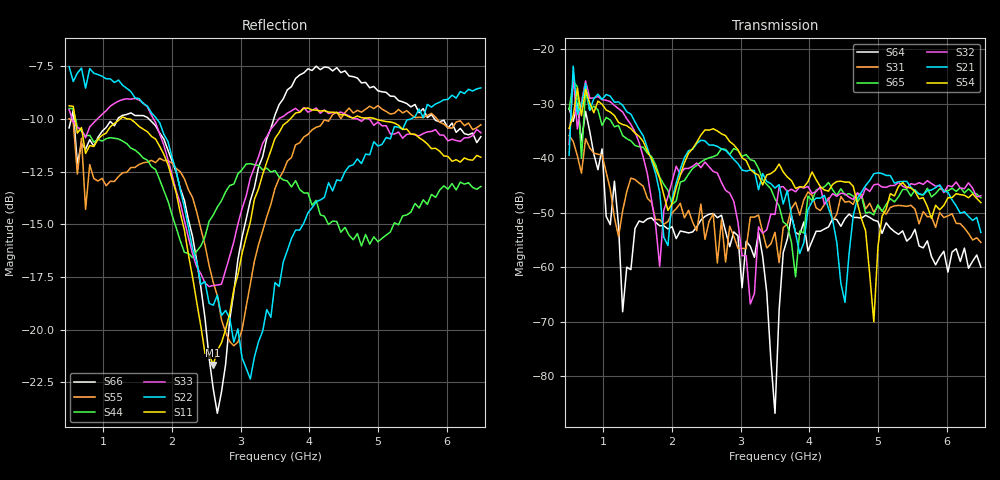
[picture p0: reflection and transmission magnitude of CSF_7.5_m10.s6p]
!Keysight Technologies,M9804A,MY58100912,A.14.10.03
!Date: Thursday, April 27, 2023 10:28:33
!Correction: S11(C  6-Port  )
!S12(C  6-Port  )
!S13(C  6-Port  )
!S14(C  6-Port  )
!S15(C  6-Port  )
!S16(C  6-Port  )
!S21(C  6-Port  )
!S22(C  6-Port  )
!S23(C  6-Port  )
!S24(C  6-Port  )
!S25(C  6-Port  )
!S26(C  6-Port  )
!S31(C  6-Port  )
!S32(C  6-Port  )
!S33(C  6-Port  )
!S34(C  6-Port  )
!S35(C  6-Port  )
!S36(C  6-Port  )
!S41(C  6-Port  )
!S42(C  6-Port  )
!S43(C  6-Port  )
!S44(C  6-Port  )
!S45(C  6-Port  )
!S46(C  6-Port  )
!S51(C  6-Port  )
!S52(C  6-Port  )
!S53(C  6-Port  )
!S54(C  6-Port  )
!S55(C  6-Port  )
!S56(C  6-Port  )
!S61(C  6-Port  )
!S62(C  6-Port  )
!S63(C  6-Port  )
!S64(C  6-Port  )
!S65(C  6-Port  )
!S66(C  6-Port  )
!S6P File: Measurement: :
# Hz S  RI  R 50
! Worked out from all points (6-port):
!   101 points, 500 MHz to 6.5 GHz, reference 50 ohm
!   strongest paths, dB at 500 MHz, 2 GHz, 3.5 GHz, 5 GHz, 6.5 GHz:
!     S54: -34.5, -48.3, -42.3, -56.2, -48.2
!     S21: -39.5, -47.5, -45.5, -42.7, -53.6
!     S32: -37.5, -44.3, -50.3, -44.7, -46.9
!     S65: -31.1, -48.5, -47.5, -48.5, -47.3
!     S31: -35.8, -50.0, -53.6, -48.7, -55.4
!     S64: -30.9, -52.6, -86.8, -51.6, -60.0
!   lowest |S11| = -21.7 dB at 2.6 GHz (marker M1), VSWR 1.18, Z = 42.6 + j2.03 ohm
!   |S11| at or under -10 dB: 588.4 MHz to 1.244 GHz (655.9 MHz wide, 71.6 % of centre); 1.368 GHz to 3.72 GHz (2.352 GHz wide, 92.5 % of centre); 4.967 GHz to end of sweep
